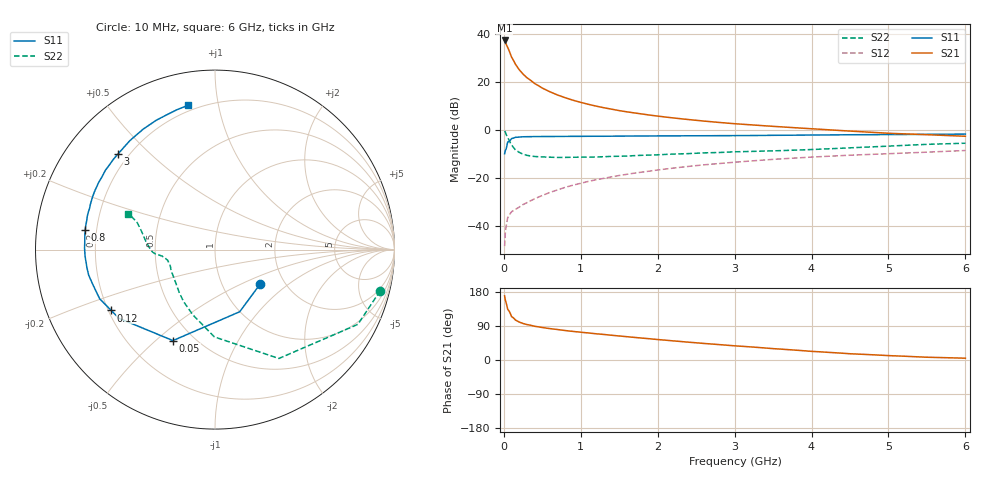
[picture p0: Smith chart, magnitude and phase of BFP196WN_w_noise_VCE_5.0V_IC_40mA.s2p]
! Infineon Technologies  Discrete & RF Semiconductors
! BFP196WN
! VCE =  5.0 V,  IC =  40 mA
! Common Emitter S-Parameters:  Jan 2017
# GHz  S  MA  R  50
!  f  S11  S21  S12  S22
! GHz  MAG  ANG  MAG  ANG  MAG  ANG  MAG  ANG
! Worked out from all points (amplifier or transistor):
!   77 points, 10 MHz to 6 GHz, reference 50 ohm
!   highest |S21| = 37.4 dB at 10 MHz (marker M1)
!   |S21| within 3 dB of that: start of sweep to 51.34 MHz
!   unconditionally stable (mu >= 1): 681.6 MHz to 2.637 GHz
!   at 130 MHz: K = 0.49, MSG = 31.2 dB, |S12| = -33.6 dB
!   at 2.2 GHz: K = 1.02, MAG = 9.6 dB, |S12| = -16.0 dB
!   at 6 GHz: K = 0.91, MSG = 3.0 dB, |S12| = -8.6 dB
!   lowest NFmin = 1.16 dB at 450 MHz
!   S11 on the Smith chart (normalised r, x): 10 MHz: 1.50, -0.65; 50 MHz: 0.39, -0.57; 120 MHz: 0.21, -0.26; 800 MHz: 0.16, +0.07; 3 GHz: 0.16, +0.40; 6 GHz: 0.17, +0.81
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0.01  0.3166 -37.8  74.2 169.1  0.0037 78.6  0.9487 -14.0
0.02  0.3725 -68.3  68.46 157.7  0.0073 75.2  0.8985 -27.6
0.05  0.5585 -114.8  53.12 133.9  0.0146 54.4  0.7033 -59.6
0.1  0.6577 -144.4  33.31 114.7  0.0194 47.9  0.4864 -90.4
0.12  0.6702 -149.6  29.39 111.8  0.0203 47.3  0.4404 -96.7
0.15  0.6986 -156.9  23.71 105.6  0.0217 46.5  0.3841 -108.7
0.2  0.7076 -163.9  18.14 100.1  0.0243 49.1  0.3384 -121.2
0.25  0.718 -168.5  14.69 96.3  0.0275 51.6  0.3114 -129.7
0.3  0.7206 -171.9  12.34 93.5  0.0301 54.0  0.2932 -136.6
0.4  0.7247 -177.0  9.335 89.0  0.0362 58.6  0.2778 -145.5
0.5  0.7268 179.4  7.483 85.7  0.0425 61.5  0.2721 -151.9
0.6  0.7269 176.5  6.256 82.8  0.0493 63.4  0.2685 -156.5
0.7  0.7293 174.0  5.357 80.4  0.0557 64.8  0.2652 -159.5
0.8  0.7313 171.5  4.695 77.7  0.0631 66.1  0.266 -161.7
1.1  0.7354 165.5  3.422 71.3  0.0838 66.8  0.2699 -166.8
1.5  0.7402 158.6  2.532 63.4  0.1113 66.0  0.2811 -170.7
2.1  0.7483 148.8  1.86 52.3  0.1519 62.8  0.3067 -173.9
3  0.7591 135.3  1.347 37.4  0.2107 56.1  0.3479 -177.7
3.1  0.7604 133.8  1.313 36.1  0.2169 55.3  0.351 -178.4
4.1  0.7828 119.4  1.033 21.7  0.2749 47.0  0.3945 171.6
5.1  0.7997 108.6  0.838 10.8  0.3224 39.6  0.4655 160.5
6  0.8175 100.7  0.735 4.7  0.3706 33.6  0.5263 157.6
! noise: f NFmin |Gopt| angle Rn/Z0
0.45  1.16  0.5  -179  0.04
0.9  1.29  0.54  -173  0.05
1.9  2.21  0.68  -148  0.13
2.4  2.95  0.69  -141  0.26
